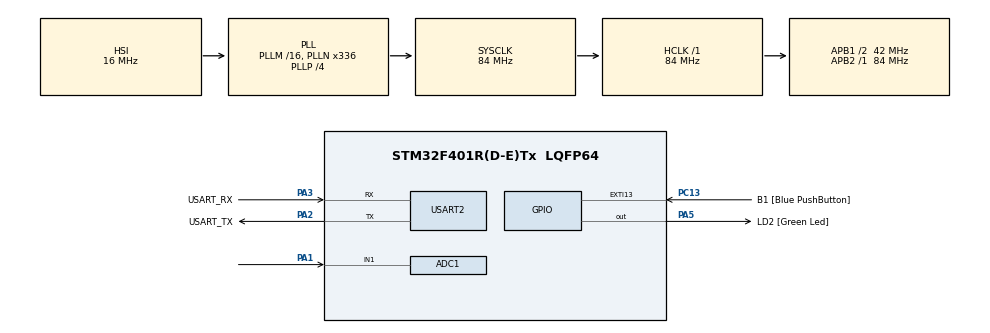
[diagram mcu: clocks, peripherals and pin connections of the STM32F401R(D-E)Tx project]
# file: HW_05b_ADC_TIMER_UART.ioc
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ADC1.Channel-0\#ChannelRegularConversion=ADC_CHANNEL_1
ADC1.ExternalTrigConv=ADC_EXTERNALTRIGCONV_T2_TRGO
ADC1.NbrOfConversionFlag=1
ADC1.Rank-0\#ChannelRegularConversion=1
ADC1.SamplingTime-0\#ChannelRegularConversion=ADC_SAMPLETIME_480CYCLES
ADC1.master=1
Mcu.Family=STM32F4
Mcu.Name=STM32F401R(D-E)Tx
Mcu.Package=LQFP64
NVIC.ADC_IRQn=true\:0\:0\:false\:false\:true\:true\:true\:true
NVIC.PriorityGroup=NVIC_PRIORITYGROUP_0
PA1.Signal=ADCx_IN1
PA13.GPIO_Label=TMS
PA13.Mode=Serial_Wire
PA13.Signal=SYS_JTMS-SWDIO
PA14.GPIO_Label=TCK
PA14.Mode=Serial_Wire
PA14.Signal=SYS_JTCK-SWCLK
PA2.GPIO_Label=USART_TX
PA2.GPIO_Mode=GPIO_MODE_AF_PP
PA2.GPIO_PuPd=GPIO_NOPULL
PA2.GPIO_Speed=GPIO_SPEED_FREQ_LOW
PA2.Mode=Asynchronous
PA2.Signal=USART2_TX
PA3.GPIO_Label=USART_RX
PA3.GPIO_Mode=GPIO_MODE_AF_PP
PA3.GPIO_PuPd=GPIO_NOPULL
PA3.GPIO_Speed=GPIO_SPEED_FREQ_LOW
PA3.Mode=Asynchronous
PA3.Signal=USART2_RX
PA5.GPIO_Label=LD2 [Green Led]
PA5.GPIO_Mode=GPIO_MODE_OUTPUT_PP
PA5.GPIO_PuPd=GPIO_NOPULL
PA5.GPIO_Speed=GPIO_SPEED_FREQ_LOW
PA5.Signal=GPIO_Output
PB3.GPIO_Label=SWO
PB3.Signal=SYS_JTDO-SWO
PC13-ANTI_TAMP.GPIO_Label=B1 [Blue PushButton]
PC13-ANTI_TAMP.GPIO_ModeDefaultEXTI=GPIO_MODE_IT_FALLING
PC13-ANTI_TAMP.GPIO_PuPd=GPIO_NOPULL
PC13-ANTI_TAMP.Signal=GPXTI13
PC14-OSC32_IN.Mode=LSE-External-Oscillator
PC14-OSC32_IN.Signal=RCC_OSC32_IN
PC15-OSC32_OUT.Mode=LSE-External-Oscillator
PC15-OSC32_OUT.Signal=RCC_OSC32_OUT
PH0\ -\ OSC_IN.Mode=HSE-External-Clock-Source
PH0\ -\ OSC_IN.Signal=RCC_OSC_IN
PH1\ -\ OSC_OUT.Mode=HSE-External-Clock-Source
PH1\ -\ OSC_OUT.Signal=RCC_OSC_OUT
ProjectManager.HeapSize=0x200
ProjectManager.StackSize=0x400
ProjectManager.TargetToolchain=STM32CubeIDE
RCC.48MHZClocksFreq_Value=48000000
RCC.AHBFreq_Value=84000000
RCC.APB1CLKDivider=RCC_HCLK_DIV2
RCC.APB1Freq_Value=42000000
RCC.APB1TimFreq_Value=84000000
RCC.APB2Freq_Value=84000000
RCC.APB2TimFreq_Value=84000000
RCC.CortexFreq_Value=84000000
RCC.HCLKFreq_Value=84000000
RCC.HSE_VALUE=8000000
RCC.HSI_VALUE=16000000
RCC.PLLN=336
RCC.PLLP=RCC_PLLP_DIV4
RCC.PLLQ=7
RCC.SYSCLKFreq_VALUE=84000000
RCC.SYSCLKSource=RCC_SYSCLKSOURCE_PLLCLK
RCC.VCOOutputFreq_Value=336000000
SH.ADCx_IN1.0=ADC1_IN1,IN1
TIM2.Period=10000-1
TIM2.Prescaler=8400-1
TIM2.TIM_MasterOutputTrigger=TIM_TRGO_UPDATE
USART2.VirtualMode=VM_ASYNC
VP_TIM2_VS_ClockSourceINT.Mode=Internal
board=NUCLEO-F401RE

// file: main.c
/* USER CODE BEGIN Header */
/**
  ******************************************************************************
  * @file           : main.c
  * @brief          : Main program body
  ******************************************************************************
  * @attention
  *
  * Copyright (c) 2024 STMicroelectronics.
  * All rights reserved.
  *
  * This software is licensed under terms that can be found in the LICENSE file
  * in the root directory of this software component.
  * If no LICENSE file comes with this software, it is provided AS-IS.
  *
  ******************************************************************************
  */
/* USER CODE END Header */
#include "main.h"

/* USER CODE BEGIN Includes */
#include "string.h"
#include "stdio.h"

/* USER CODE END Includes */

/* USER CODE BEGIN PD */

#define STR_LEN 17
#define LSB 3.3/4096.0

/* USER CODE END PD */

ADC_HandleTypeDef hadc1;

TIM_HandleTypeDef htim2;

UART_HandleTypeDef huart2;

/* USER CODE BEGIN PV */

char string[STR_LEN];

int digital_voltage;

float analog_voltage;

int length;

/* USER CODE END PV */

void SystemClock_Config(void);
static void MX_GPIO_Init(void);
static void MX_USART2_UART_Init(void);
static void MX_ADC1_Init(void);
static void MX_TIM2_Init(void);

/* USER CODE BEGIN 0 */

void HAL_ADC_ConvCpltCallback (ADC_HandleTypeDef *hadc) {
	if (hadc == &hadc1) {
		digital_voltage = HAL_ADC_GetValue(&hadc1);
		analog_voltage = LSB*digital_voltage;
		length = snprintf(string, sizeof(string), "Voltage: %.3fV\n", analog_voltage);
		HAL_UART_Transmit(&huart2, string, length, 100);
	}
}
/* USER CODE END 0 */

int main(void)
{

  /* MCU Configuration--------------------------------------------------------*/

  /* Reset of all peripherals, Initializes the Flash interface and the Systick. */
  HAL_Init();

  /* Configure the system clock */
  SystemClock_Config();

  /* Initialize all configured peripherals */
  MX_GPIO_Init();
  MX_USART2_UART_Init();
  MX_ADC1_Init();
  MX_TIM2_Init();
  /* USER CODE BEGIN 2 */

  HAL_ADC_Start_IT(&hadc1);
  __HAL_TIM_SET_COUNTER(&htim2, 0);
  HAL_TIM_Base_Start(&htim2);

  /* USER CODE END 2 */

  /* Infinite loop */
  while (1)
  {

  }
}

void SystemClock_Config(void)
{
  RCC_OscInitTypeDef RCC_OscInitStruct = {0};
  RCC_ClkInitTypeDef RCC_ClkInitStruct = {0};

  /** Configure the main internal regulator output voltage
  */
  __HAL_RCC_PWR_CLK_ENABLE();
  __HAL_PWR_VOLTAGESCALING_CONFIG(PWR_REGULATOR_VOLTAGE_SCALE2);

  /** Initializes the RCC Oscillators according to the specified parameters
  * in the RCC_OscInitTypeDef structure.
  */
  RCC_OscInitStruct.OscillatorType = RCC_OSCILLATORTYPE_HSI;
  RCC_OscInitStruct.HSIState = RCC_HSI_ON;
  RCC_OscInitStruct.HSICalibrationValue = RCC_HSICALIBRATION_DEFAULT;
  RCC_OscInitStruct.PLL.PLLState = RCC_PLL_ON;
  RCC_OscInitStruct.PLL.PLLSource = RCC_PLLSOURCE_HSI;
  RCC_OscInitStruct.PLL.PLLM = 16;
  RCC_OscInitStruct.PLL.PLLN = 336;
  RCC_OscInitStruct.PLL.PLLP = RCC_PLLP_DIV4;
  RCC_OscInitStruct.PLL.PLLQ = 7;
  if (HAL_RCC_OscConfig(&RCC_OscInitStruct) != HAL_OK)
  {
    Error_Handler();
  }

  /** Initializes the CPU, AHB and APB buses clocks
  */
  RCC_ClkInitStruct.ClockType = RCC_CLOCKTYPE_HCLK|RCC_CLOCKTYPE_SYSCLK
                              |RCC_CLOCKTYPE_PCLK1|RCC_CLOCKTYPE_PCLK2;
  RCC_ClkInitStruct.SYSCLKSource = RCC_SYSCLKSOURCE_PLLCLK;
  RCC_ClkInitStruct.AHBCLKDivider = RCC_SYSCLK_DIV1;
  RCC_ClkInitStruct.APB1CLKDivider = RCC_HCLK_DIV2;
  RCC_ClkInitStruct.APB2CLKDivider = RCC_HCLK_DIV1;

  if (HAL_RCC_ClockConfig(&RCC_ClkInitStruct, FLASH_LATENCY_2) != HAL_OK)
  {
    Error_Handler();
  }
}

static void MX_ADC1_Init(void)
{

  ADC_ChannelConfTypeDef sConfig = {0};

  /** Configure the global features of the ADC (Clock, Resolution, Data Alignment and number of conversion)
  */
  hadc1.Instance = ADC1;
  hadc1.Init.ClockPrescaler = ADC_CLOCK_SYNC_PCLK_DIV4;
  hadc1.Init.Resolution = ADC_RESOLUTION_12B;
  hadc1.Init.ScanConvMode = DISABLE;
  hadc1.Init.ContinuousConvMode = DISABLE;
  hadc1.Init.DiscontinuousConvMode = DISABLE;
  hadc1.Init.ExternalTrigConvEdge = ADC_EXTERNALTRIGCONVEDGE_RISING;
  hadc1.Init.ExternalTrigConv = ADC_EXTERNALTRIGCONV_T2_TRGO;
  hadc1.Init.DataAlign = ADC_DATAALIGN_RIGHT;
  hadc1.Init.NbrOfConversion = 1;
  hadc1.Init.DMAContinuousRequests = DISABLE;
  hadc1.Init.EOCSelection = ADC_EOC_SINGLE_CONV;
  if (HAL_ADC_Init(&hadc1) != HAL_OK)
  {
    Error_Handler();
  }

  /** Configure for the selected ADC regular channel its corresponding rank in the sequencer and its sample time.
  */
  sConfig.Channel = ADC_CHANNEL_1;
  sConfig.Rank = 1;
  sConfig.SamplingTime = ADC_SAMPLETIME_480CYCLES;
  if (HAL_ADC_ConfigChannel(&hadc1, &sConfig) != HAL_OK)
  {
    Error_Handler();
  }

}

static void MX_TIM2_Init(void)
{

  TIM_ClockConfigTypeDef sClockSourceConfig = {0};
  TIM_MasterConfigTypeDef sMasterConfig = {0};

  htim2.Instance = TIM2;
  htim2.Init.Prescaler = 8400-1;
  htim2.Init.CounterMode = TIM_COUNTERMODE_UP;
  htim2.Init.Period = 10000-1;
  htim2.Init.ClockDivision = TIM_CLOCKDIVISION_DIV1;
  htim2.Init.AutoReloadPreload = TIM_AUTORELOAD_PRELOAD_DISABLE;
  if (HAL_TIM_Base_Init(&htim2) != HAL_OK)
  {
    Error_Handler();
  }
  sClockSourceConfig.ClockSource = TIM_CLOCKSOURCE_INTERNAL;
  if (HAL_TIM_ConfigClockSource(&htim2, &sClockSourceConfig) != HAL_OK)
  {
    Error_Handler();
  }
  sMasterConfig.MasterOutputTrigger = TIM_TRGO_UPDATE;
  sMasterConfig.MasterSlaveMode = TIM_MASTERSLAVEMODE_DISABLE;
  if (HAL_TIMEx_MasterConfigSynchronization(&htim2, &sMasterConfig) != HAL_OK)
  {
    Error_Handler();
  }

}

static void MX_USART2_UART_Init(void)
{

  huart2.Instance = USART2;
  huart2.Init.BaudRate = 115200;
  huart2.Init.WordLength = UART_WORDLENGTH_8B;
  huart2.Init.StopBits = UART_STOPBITS_1;
  huart2.Init.Parity = UART_PARITY_NONE;
  huart2.Init.Mode = UART_MODE_TX_RX;
  huart2.Init.HwFlowCtl = UART_HWCONTROL_NONE;
  huart2.Init.OverSampling = UART_OVERSAMPLING_16;
  if (HAL_UART_Init(&huart2) != HAL_OK)
  {
    Error_Handler();
  }

}

static void MX_GPIO_Init(void)
{
  GPIO_InitTypeDef GPIO_InitStruct = {0};

  /* GPIO Ports Clock Enable */
  __HAL_RCC_GPIOC_CLK_ENABLE();
  __HAL_RCC_GPIOH_CLK_ENABLE();
  __HAL_RCC_GPIOA_CLK_ENABLE();
  __HAL_RCC_GPIOB_CLK_ENABLE();

  /*Configure GPIO pin Output Level */
  HAL_GPIO_WritePin(LD2_GPIO_Port, LD2_Pin, GPIO_PIN_RESET);

  /*Configure GPIO pin : B1_Pin */
  GPIO_InitStruct.Pin = B1_Pin;
  GPIO_InitStruct.Mode = GPIO_MODE_IT_FALLING;
  GPIO_InitStruct.Pull = GPIO_NOPULL;
  HAL_GPIO_Init(B1_GPIO_Port, &GPIO_InitStruct);

  /*Configure GPIO pin : LD2_Pin */
  GPIO_InitStruct.Pin = LD2_Pin;
  GPIO_InitStruct.Mode = GPIO_MODE_OUTPUT_PP;
  GPIO_InitStruct.Pull = GPIO_NOPULL;
  GPIO_InitStruct.Speed = GPIO_SPEED_FREQ_LOW;
  HAL_GPIO_Init(LD2_GPIO_Port, &GPIO_InitStruct);

}

void Error_Handler(void)
{
  __disable_irq();
  while (1)
  {
  }
}
